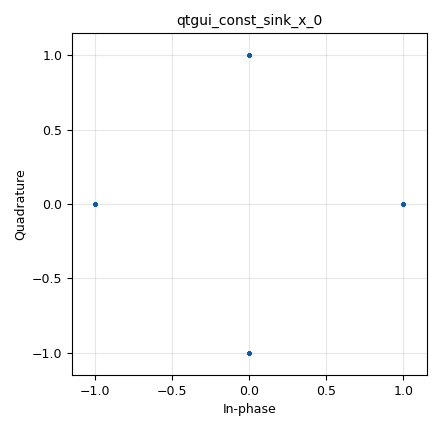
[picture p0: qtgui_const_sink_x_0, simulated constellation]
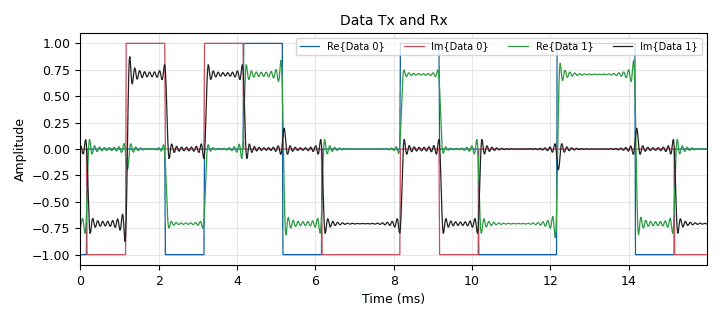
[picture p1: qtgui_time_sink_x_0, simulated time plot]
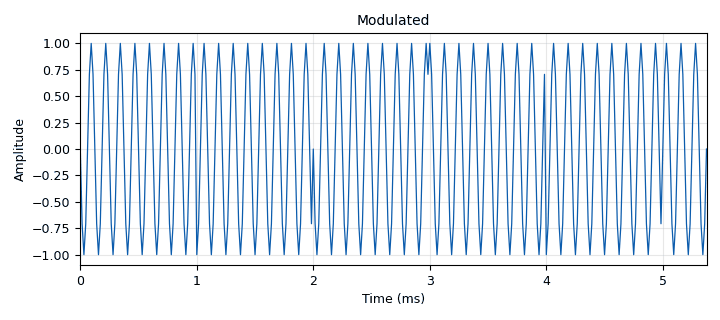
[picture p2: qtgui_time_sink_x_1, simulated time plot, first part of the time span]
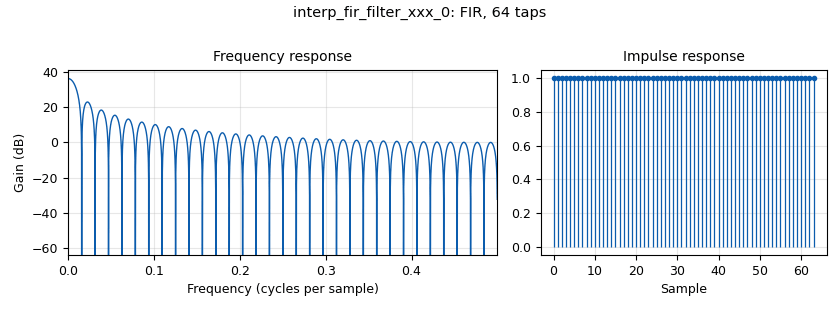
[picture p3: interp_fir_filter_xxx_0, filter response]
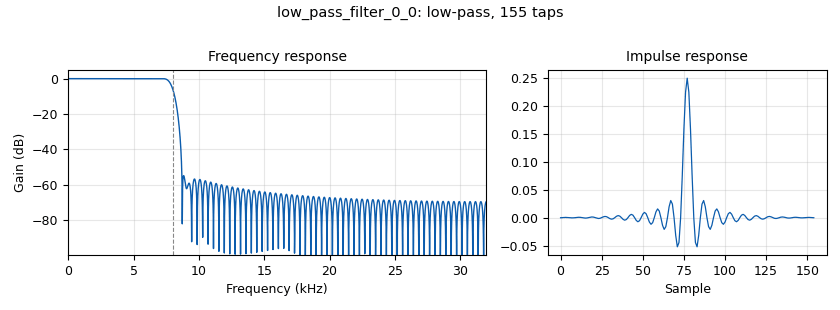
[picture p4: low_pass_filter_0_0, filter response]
options:
  parameters:
    generate_options: qt_gui
    id: commn_5ghz
    output_language: python
    title: 5Ghz Communication
  states: {}

blocks:
- name: N
  id: variable
  parameters:
    value: '4'
  states: {}
- name: delay_1
  id: variable_qtgui_range
  parameters:
    label: Delay
    start: '0'
    step: '1'
    stop: '1000'
    value: '75'
  states: {}
- name: fc
  id: variable
  parameters:
    value: int(8e3)
  states: {}
- name: samp_rate
  id: variable
  parameters:
    value: int(64e3)
  states: {}
- name: analog_random_source_x_0
  id: analog_random_source_x
  parameters:
    max: '4'
    min: '0'
    num_samps: '1000'
    repeat: 'True'
    type: int
  states: {}
- name: analog_sig_source_x_0
  id: analog_sig_source_x
  parameters:
    amp: '-1.414'
    freq: fc
    offset: '0'
    phase: '0'
    samp_rate: samp_rate
    type: float
    waveform: analog.GR_SIN_WAVE
  states: {}
- name: analog_sig_source_x_0_0
  id: analog_sig_source_x
  parameters:
    amp: '1.414'
    freq: fc
    offset: '0'
    phase: '0'
    samp_rate: samp_rate
    type: float
    waveform: analog.GR_COS_WAVE
  states: {}
- name: analog_sig_source_x_0_0_0
  id: analog_sig_source_x
  parameters:
    amp: '1'
    freq: fc
    offset: '0'
    phase: '0'
    samp_rate: samp_rate
    type: complex
    waveform: analog.GR_COS_WAVE
  states: {}
- name: blocks_complex_to_real_0
  id: blocks_complex_to_real
  parameters: {}
  states: {}
- name: blocks_delay_0
  id: blocks_delay
  parameters:
    delay: delay_1
    type: complex
  states: {}
- name: blocks_float_to_complex_0
  id: blocks_float_to_complex
  parameters: {}
  states: {}
- name: blocks_multiply_xx_0
  id: blocks_multiply_xx
  parameters:
    type: float
  states: {}
- name: blocks_multiply_xx_0_0
  id: blocks_multiply_xx
  parameters:
    type: float
  states: {}
- name: blocks_multiply_xx_1
  id: blocks_multiply_xx
  parameters:
    type: complex
  states: {}
- name: blocks_throttle_0
  id: blocks_throttle
  parameters:
    samples_per_second: samp_rate
    type: complex
  states: {}
- name: digital_chunks_to_symbols_xx_0
  id: digital_chunks_to_symbols_xx
  parameters:
    dimension: '1'
    in_type: int
    out_type: complex
    symbol_table: np.exp(1j* 2 * np.pi * np.arange(N) / N)
  states: {}
- name: import_0
  id: import
  parameters:
    imports: import numpy as np
  states: {}
- name: interp_fir_filter_xxx_0
  id: interp_fir_filter_xxx
  parameters:
    interp: samp_rate // 1000
    taps: np.ones(samp_rate // 1000)
    type: ccc
  states: {}
- name: low_pass_filter_0_0
  id: low_pass_filter
  parameters:
    cutoff_freq: fc
    gain: '1'
    interp: '1'
    samp_rate: samp_rate
    type: interp_fir_filter_fff
    width: int(1e3)
    win: window.WIN_HAMMING
  states: {}
- name: low_pass_filter_0_0_0
  id: low_pass_filter
  parameters:
    cutoff_freq: fc
    gain: '1'
    interp: '1'
    samp_rate: samp_rate
    type: interp_fir_filter_fff
    width: int(1e3)
    win: window.WIN_HAMMING
  states: {}
- name: qtgui_const_sink_x_0
  id: qtgui_const_sink_x
  parameters:
    autoscale: 'True'
    grid: 'True'
    size: '1024'
    type: complex
  states: {}
- name: qtgui_time_sink_x_0
  id: qtgui_time_sink_x
  parameters:
    autoscale: 'True'
    grid: 'True'
    name: Data Tx and Rx
    nconnections: '2'
    size: '1024'
    srate: samp_rate
    type: complex
    yunit: Time
  states: {}
- name: qtgui_time_sink_x_1
  id: qtgui_time_sink_x
  parameters:
    autoscale: 'True'
    grid: 'True'
    name: Modulated
    size: '1024'
    srate: samp_rate
    type: float
  states: {}
- name: virtual_sink_0
  id: virtual_sink
  parameters:
    stream_id: psk_bb
  states: {}
- name: virtual_sink_1
  id: virtual_sink
  parameters:
    stream_id: decoded_psk_bb
  states: {}
- name: virtual_source_0
  id: virtual_source
  parameters:
    stream_id: psk_bb
  states: {}
- name: virtual_source_1
  id: virtual_source
  parameters:
    stream_id: decoded_psk_bb
  states: {}

connections:
- [analog_random_source_x_0, '0', digital_chunks_to_symbols_xx_0, '0']
- [analog_sig_source_x_0, '0', blocks_multiply_xx_0_0, '1']
- [analog_sig_source_x_0_0, '0', blocks_multiply_xx_0, '1']
- [analog_sig_source_x_0_0_0, '0', blocks_multiply_xx_1, '1']
- [blocks_complex_to_real_0, '0', blocks_multiply_xx_0, '0']
- [blocks_complex_to_real_0, '0', blocks_multiply_xx_0_0, '0']
- [blocks_complex_to_real_0, '0', qtgui_time_sink_x_1, '0']
- [blocks_delay_0, '0', qtgui_time_sink_x_0, '0']
- [blocks_float_to_complex_0, '0', virtual_sink_1, '0']
- [blocks_multiply_xx_0, '0', low_pass_filter_0_0, '0']
- [blocks_multiply_xx_0_0, '0', low_pass_filter_0_0_0, '0']
- [blocks_multiply_xx_1, '0', blocks_complex_to_real_0, '0']
- [blocks_throttle_0, '0', interp_fir_filter_xxx_0, '0']
- [blocks_throttle_0, '0', qtgui_const_sink_x_0, '0']
- [digital_chunks_to_symbols_xx_0, '0', blocks_throttle_0, '0']
- [interp_fir_filter_xxx_0, '0', blocks_delay_0, '0']
- [interp_fir_filter_xxx_0, '0', virtual_sink_0, '0']
- [low_pass_filter_0_0, '0', blocks_float_to_complex_0, '0']
- [low_pass_filter_0_0_0, '0', blocks_float_to_complex_0, '1']
- [virtual_source_0, '0', blocks_multiply_xx_1, '0']
- [virtual_source_1, '0', qtgui_time_sink_x_0, '1']

metadata:
  file_format: 1
  grc_version: 3.10.11.0
